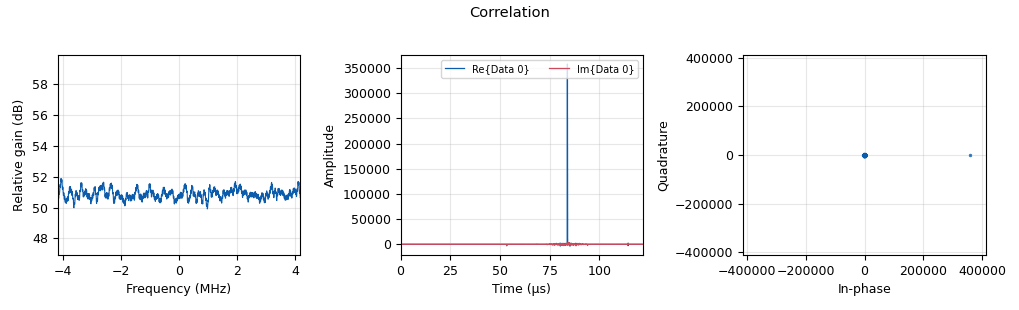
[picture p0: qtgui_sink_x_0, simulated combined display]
<?xml version='1.0' encoding='utf-8'?>
<?grc format='1' created='3.7.10'?>
<flow_graph>
<block>
<key>options</key>
<param><key>id</key><value>PWR_model</value></param>
<param><key>author</key><value>Peter F Bradshaw</value></param>
<param><key>description</key><value>This is a test receiver for the of the Passive Weather Radar</value></param>
<param><key>generate_options</key><value>qt_gui</value></param>
<param><key>title</key><value>Passive Weather Radar test receiver</value></param>
</block>
<block>
<key>variable</key>
<param><key>id</key><value>samp_rate</value></param>
<param><key>value</key><value>8388608</value></param>
</block>
<block>
<key>blocks_char_to_float</key>
<param><key>id</key><value>blocks_char_to_float_0</value></param>
<param><key>scale</key><value>1</value></param>
</block>
<block>
<key>blocks_char_to_float</key>
<param><key>id</key><value>blocks_char_to_float_1</value></param>
<param><key>scale</key><value>1</value></param>
</block>
<block>
<key>blocks_delay</key>
<param><key>id</key><value>blocks_delay_0</value></param>
<param><key>delay</key><value>0</value></param>
<param><key>type</key><value>complex</value></param>
</block>
<block>
<key>blocks_float_to_char</key>
<param><key>id</key><value>blocks_float_to_char_0</value></param>
<param><key>scale</key><value>1</value></param>
</block>
<block>
<key>blocks_float_to_complex</key>
<param><key>id</key><value>blocks_float_to_complex_0</value></param>
</block>
<block>
<key>blocks_float_to_complex</key>
<param><key>id</key><value>blocks_float_to_complex_1</value></param>
</block>
<block>
<key>blocks_multiply_conjugate_cc</key>
<param><key>id</key><value>blocks_multiply_conjugate_cc_0</value></param>
<param><key>vlen</key><value>1024</value></param>
</block>
<block>
<key>blocks_throttle</key>
<param><key>id</key><value>blocks_throttle_1</value></param>
<param><key>samples_per_second</key><value>samp_rate</value></param>
<param><key>type</key><value>float</value></param>
</block>
<block>
<key>fft_vxx</key>
<param><key>id</key><value>correlation_fft</value></param>
<param><key>_enabled</key><value>0</value></param>
<param><key>fft_size</key><value>1024</value></param>
<param><key>forward</key><value>True</value></param>
<param><key>type</key><value>complex</value></param>
<param><key>shift</key><value>True</value></param>
<param><key>window</key><value>window.rectangular(1024)</value></param>
</block>
<block>
<key>blocks_vector_to_stream</key>
<param><key>id</key><value>correlation_vector_to_stream</value></param>
<param><key>type</key><value>complex</value></param>
<param><key>num_items</key><value>1024</value></param>
</block>
<block>
<key>dc_blocker_xx</key>
<param><key>id</key><value>dc_blocker_xx_0</value></param>
<param><key>length</key><value>32</value></param>
<param><key>long_form</key><value>True</value></param>
<param><key>type</key><value>ff</value></param>
</block>
<block>
<key>digital_glfsr_source_x</key>
<param><key>id</key><value>digital_glfsr_source_x_0</value></param>
<param><key>degree</key><value>8</value></param>
<param><key>mask</key><value>0</value></param>
<param><key>repeat</key><value>True</value></param>
<param><key>seed</key><value>1</value></param>
<param><key>type</key><value>float</value></param>
</block>
<block>
<key>digital_psk_demod</key>
<param><key>id</key><value>digital_psk_demod_0</value></param>
<param><key>differential</key><value>True</value></param>
<param><key>excess_bw</key><value>0.35</value></param>
<param><key>freq_bw</key><value>6.28/100.0</value></param>
<param><key>mod_code</key><value>"gray"</value></param>
<param><key>constellation_points</key><value>4</value></param>
<param><key>phase_bw</key><value>6.28/100.0</value></param>
<param><key>samples_per_symbol</key><value>2</value></param>
<param><key>timing_bw</key><value>6.28/100.0</value></param>
</block>
<block>
<key>digital_psk_demod</key>
<param><key>id</key><value>digital_psk_demod_1</value></param>
<param><key>differential</key><value>True</value></param>
<param><key>excess_bw</key><value>0.35</value></param>
<param><key>freq_bw</key><value>6.28/100.0</value></param>
<param><key>mod_code</key><value>"gray"</value></param>
<param><key>constellation_points</key><value>8</value></param>
<param><key>phase_bw</key><value>6.28/100.0</value></param>
<param><key>samples_per_symbol</key><value>2</value></param>
<param><key>timing_bw</key><value>6.28/100.0</value></param>
</block>
<block>
<key>digital_psk_mod</key>
<param><key>id</key><value>digital_psk_mod_0</value></param>
<param><key>differential</key><value>True</value></param>
<param><key>excess_bw</key><value>0.35</value></param>
<param><key>mod_code</key><value>"gray"</value></param>
<param><key>constellation_points</key><value>4</value></param>
<param><key>samples_per_symbol</key><value>2</value></param>
</block>
<block>
<key>digital_psk_mod</key>
<param><key>id</key><value>digital_psk_mod_1</value></param>
<param><key>differential</key><value>True</value></param>
<param><key>excess_bw</key><value>0.35</value></param>
<param><key>mod_code</key><value>"gray"</value></param>
<param><key>constellation_points</key><value>4</value></param>
<param><key>samples_per_symbol</key><value>2</value></param>
</block>
<block>
<key>qtgui_sink_x</key>
<param><key>id</key><value>qtgui_sink_x_0</value></param>
<param><key>bw</key><value>samp_rate</value></param>
<param><key>fc</key><value>0</value></param>
<param><key>freqchangevar</key><value>None</value></param>
<param><key>fftsize</key><value>1024</value></param>
<param><key>name</key><value>"Correlation"</value></param>
<param><key>showports</key><value>True</value></param>
<param><key>type</key><value>complex</value></param>
<param><key>wintype</key><value>firdes.WIN_RECTANGULAR</value></param>
</block>
<block>
<key>qtgui_vector_sink_f</key>
<param><key>id</key><value>qtgui_vector_sink_f_0</value></param>
<param><key>_enabled</key><value>0</value></param>
<param><key>showports</key><value>True</value></param>
<param><key>vlen</key><value>1024</value></param>
<param><key>x_start</key><value>0</value></param>
<param><key>x_step</key><value>1.0</value></param>
</block>
<block>
<key>fft_vxx</key>
<param><key>id</key><value>reference_fft</value></param>
<param><key>fft_size</key><value>1024</value></param>
<param><key>forward</key><value>False</value></param>
<param><key>type</key><value>complex</value></param>
<param><key>shift</key><value>False</value></param>
<param><key>window</key><value>window.rectangular(1024)</value></param>
</block>
<block>
<key>blocks_stream_to_vector</key>
<param><key>id</key><value>refernce_stream_to_vector</value></param>
<param><key>type</key><value>complex</value></param>
<param><key>num_items</key><value>1024</value></param>
</block>
<block>
<key>fft_vxx</key>
<param><key>id</key><value>target_fft</value></param>
<param><key>fft_size</key><value>1024</value></param>
<param><key>forward</key><value>False</value></param>
<param><key>type</key><value>complex</value></param>
<param><key>shift</key><value>False</value></param>
<param><key>window</key><value>window.rectangular(1024)</value></param>
</block>
<block>
<key>blocks_stream_to_vector</key>
<param><key>id</key><value>target_stream_to_vector</value></param>
<param><key>type</key><value>complex</value></param>
<param><key>num_items</key><value>1024</value></param>
</block>
<connection><source_block_id>blocks_char_to_float_0</source_block_id><sink_block_id>blocks_float_to_complex_0</sink_block_id><source_key>0</source_key><sink_key>0</sink_key></connection>
<connection><source_block_id>blocks_char_to_float_1</source_block_id><sink_block_id>blocks_float_to_complex_1</sink_block_id><source_key>0</source_key><sink_key>0</sink_key></connection>
<connection><source_block_id>blocks_delay_0</source_block_id><sink_block_id>digital_psk_demod_0</sink_block_id><source_key>0</source_key><sink_key>0</sink_key></connection>
<connection><source_block_id>blocks_float_to_char_0</source_block_id><sink_block_id>digital_psk_mod_0</sink_block_id><source_key>0</source_key><sink_key>0</sink_key></connection>
<connection><source_block_id>blocks_float_to_char_0</source_block_id><sink_block_id>digital_psk_mod_1</sink_block_id><source_key>0</source_key><sink_key>0</sink_key></connection>
<connection><source_block_id>blocks_float_to_complex_0</source_block_id><sink_block_id>refernce_stream_to_vector</sink_block_id><source_key>0</source_key><sink_key>0</sink_key></connection>
<connection><source_block_id>blocks_float_to_complex_1</source_block_id><sink_block_id>target_stream_to_vector</sink_block_id><source_key>0</source_key><sink_key>0</sink_key></connection>
<connection><source_block_id>blocks_multiply_conjugate_cc_0</source_block_id><sink_block_id>correlation_fft</sink_block_id><source_key>0</source_key><sink_key>0</sink_key></connection>
<connection><source_block_id>blocks_multiply_conjugate_cc_0</source_block_id><sink_block_id>correlation_vector_to_stream</sink_block_id><source_key>0</source_key><sink_key>0</sink_key></connection>
<connection><source_block_id>blocks_throttle_1</source_block_id><sink_block_id>dc_blocker_xx_0</sink_block_id><source_key>0</source_key><sink_key>0</sink_key></connection>
<connection><source_block_id>correlation_fft</source_block_id><sink_block_id>qtgui_vector_sink_f_0</sink_block_id><source_key>0</source_key><sink_key>0</sink_key></connection>
<connection><source_block_id>correlation_vector_to_stream</source_block_id><sink_block_id>qtgui_sink_x_0</sink_block_id><source_key>0</source_key><sink_key>0</sink_key></connection>
<connection><source_block_id>dc_blocker_xx_0</source_block_id><sink_block_id>blocks_float_to_char_0</sink_block_id><source_key>0</source_key><sink_key>0</sink_key></connection>
<connection><source_block_id>digital_glfsr_source_x_0</source_block_id><sink_block_id>blocks_throttle_1</sink_block_id><source_key>0</source_key><sink_key>0</sink_key></connection>
<connection><source_block_id>digital_psk_demod_0</source_block_id><sink_block_id>blocks_char_to_float_1</sink_block_id><source_key>0</source_key><sink_key>0</sink_key></connection>
<connection><source_block_id>digital_psk_demod_1</source_block_id><sink_block_id>blocks_char_to_float_0</sink_block_id><source_key>0</source_key><sink_key>0</sink_key></connection>
<connection><source_block_id>digital_psk_mod_0</source_block_id><sink_block_id>digital_psk_demod_1</sink_block_id><source_key>0</source_key><sink_key>0</sink_key></connection>
<connection><source_block_id>digital_psk_mod_1</source_block_id><sink_block_id>blocks_delay_0</sink_block_id><source_key>0</source_key><sink_key>0</sink_key></connection>
<connection><source_block_id>reference_fft</source_block_id><sink_block_id>blocks_multiply_conjugate_cc_0</sink_block_id><source_key>0</source_key><sink_key>0</sink_key></connection>
<connection><source_block_id>refernce_stream_to_vector</source_block_id><sink_block_id>reference_fft</sink_block_id><source_key>0</source_key><sink_key>0</sink_key></connection>
<connection><source_block_id>target_fft</source_block_id><sink_block_id>blocks_multiply_conjugate_cc_0</sink_block_id><source_key>0</source_key><sink_key>1</sink_key></connection>
<connection><source_block_id>target_stream_to_vector</source_block_id><sink_block_id>target_fft</sink_block_id><source_key>0</source_key><sink_key>0</sink_key></connection>
</flow_graph>
